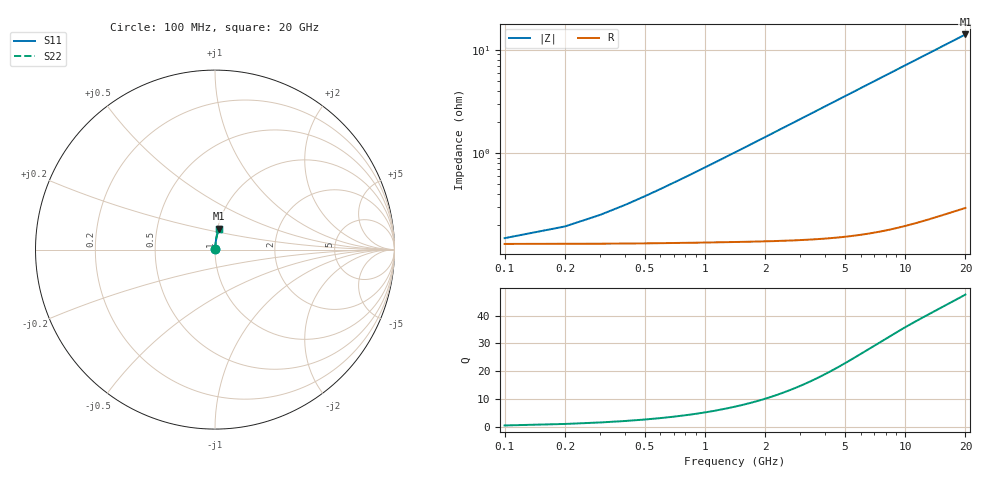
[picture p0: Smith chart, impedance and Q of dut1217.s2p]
! Touchstone file exported from HFSS 2026.1.0
!  File:  C:/ffzhzh/LocalFiles/Ansys_Project_Files/temp_train_TSV_1217_1783192957_43440.aedt
!  Generated:  03:24:52 AM Jul  5, 2026
!  Design:  TSV
!  Project:  temp_train_TSV_1217_1783192957_43440
! Variables:
!  h_bsmrdl = 2um
!  h_ox = 20um
!  h_rdl = 5um
!  h_sub = 51.66um
!  h_tmrdl = 5um
!  h_tsv = 51.66um
!  h_via = 3um
!  l_bsmrdl = 300um
!  l_sub = 404.28um
!  l_tmrdl = 200um
!  m_sub = 200um
!  pitch = 49.15um
!  r_tsv = 2.14um
!  s_tmrdl = 10um
!  w_bsmrdl = 18um
!  w_sub = 500um
!  w_tmrdl = 12um
!  x_tsv_center1 = 206um
!  x_tsv_center2 = 524um
!  x_tsv_center3 = 736um
!  x_tsv_center4 = 1054um
!  x_tsv_center5 = 1266um
!  x_tsv_center6 = 1584um
# GHz S MA R 50.000000
! Terminal data exported
! Port[1] = TSV1_1_T1
! Port[2] = TSV1_1_T2
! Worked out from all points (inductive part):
!   200 points, 100 MHz to 20 GHz, reference 50 ohm
!   read as one part in series: L = 114 pH near 600 MHz
!   highest Q = 47.6 at 20 GHz (marker M1), where L = 112 pH
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0.1  0.00146 25.0  0.9987 -0.0  0.9987 -0.0  0.00146 25.0
! Gamma 0 0 0 0
! Port Impedance 50 0 50 0
0.3  0.002279 54.2  0.9987 -0.1  0.9987 -0.1  0.002279 54.2
0.4  0.002804 61.4  0.9987 -0.2  0.9987 -0.2  0.002804 61.4
0.5  0.003358 66.3  0.9987 -0.2  0.9987 -0.2  0.003358 66.3
0.6  0.00393 69.7  0.9986 -0.3  0.9986 -0.3  0.00393 69.7
0.7  0.004511 72.3  0.9986 -0.3  0.9986 -0.3  0.004511 72.3
0.9  0.00569 75.8  0.9986 -0.4  0.9986 -0.4  0.00569 75.8
1.2  0.007482 78.9  0.9986 -0.6  0.9986 -0.6  0.007482 78.9
1.4  0.008685 80.2  0.9986 -0.7  0.9986 -0.7  0.008685 80.2
1.7  0.0105 81.6  0.9986 -0.8  0.9986 -0.8  0.0105 81.6
2.2  0.01352 83.0  0.9985 -1.0  0.9985 -1.0  0.01352 83.0
2.8  0.01716 83.9  0.9984 -1.3  0.9984 -1.3  0.01716 83.9
3.5  0.02142 84.5  0.9983 -1.6  0.9983 -1.6  0.02142 84.5
4.2  0.02567 84.7  0.9982 -1.9  0.9982 -1.9  0.02567 84.7
5  0.03052 84.8  0.998 -2.3  0.998 -2.3  0.03052 84.8
5.9  0.03597 84.7  0.9977 -2.7  0.9977 -2.7  0.03597 84.7
6.8  0.04142 84.5  0.9975 -3.1  0.9975 -3.1  0.04142 84.5
8.3  0.05046 84.1  0.9969 -3.8  0.9969 -3.8  0.05046 84.1
10.1  0.06125 83.5  0.9961 -4.7  0.9961 -4.7  0.06125 83.5
13.4  0.08087 82.2  0.9944 -6.2  0.9944 -6.2  0.08087 82.2
16.7  0.1003 80.8  0.9923 -7.7  0.9923 -7.7  0.1003 80.8
20  0.1194 79.5  0.9899 -9.1  0.9899 -9.1  0.1194 79.5
